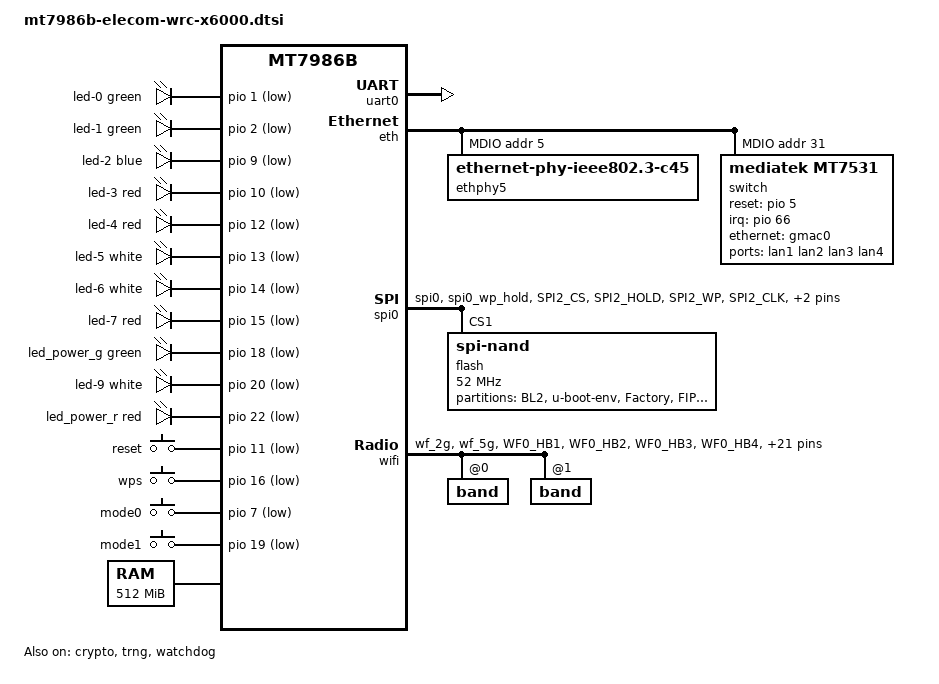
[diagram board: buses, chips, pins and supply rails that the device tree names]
// SPDX-License-Identifier: GPL-2.0-or-later OR MIT

/dts-v1/;

#include <dt-bindings/input/input.h>
#include <dt-bindings/gpio/gpio.h>
#include <dt-bindings/leds/common.h>
#include <dt-bindings/pinctrl/mt65xx.h>

#include "mt7986b.dtsi"

/ {
	aliases {
		serial0 = &uart0;

		label-mac-device = &gmac0;
		led-boot = &led_power_g;
		led-failsafe = &led_power_r;
		led-running = &led_power_g;
		led-upgrade = &led_power_g;
	};

	chosen {
		stdout-path = "serial0:115200n8";
	};

	leds {
		compatible = "gpio-leds";

		led-0 {
			color = <LED_COLOR_ID_GREEN>;
			function = LED_FUNCTION_WLAN_2GHZ;
			gpios = <&pio 1 GPIO_ACTIVE_LOW>;
		};

		led-1 {
			color = <LED_COLOR_ID_GREEN>;
			function = LED_FUNCTION_WLAN_5GHZ;
			gpios = <&pio 2 GPIO_ACTIVE_LOW>;
		};

		led-2 {
			color = <LED_COLOR_ID_BLUE>;
			function = LED_FUNCTION_POWER;
			gpios = <&pio 9 GPIO_ACTIVE_LOW>;
		};

		led-3 {
			function = LED_FUNCTION_WPS;
			color = <LED_COLOR_ID_RED>;
			gpios = <&pio 10 GPIO_ACTIVE_LOW>;
			default-state = "off";
		};

		led-4 {
			color = <LED_COLOR_ID_RED>;
			function = LED_FUNCTION_WLAN_5GHZ;
			gpios = <&pio 12 GPIO_ACTIVE_LOW>;
		};

		led-5 {
			color = <LED_COLOR_ID_WHITE>;
			function = LED_FUNCTION_WLAN_2GHZ;
			gpios = <&pio 13 GPIO_ACTIVE_LOW>;
			linux,default-trigger = "phy0tpt";
		};

		led-6 {
			color = <LED_COLOR_ID_WHITE>;
			function = LED_FUNCTION_WLAN_5GHZ;
			gpios = <&pio 14 GPIO_ACTIVE_LOW>;
			linux,default-trigger = "phy1tpt";
		};

		led-7 {
			color = <LED_COLOR_ID_RED>;
			function = LED_FUNCTION_WLAN_2GHZ;
			gpios = <&pio 15 GPIO_ACTIVE_LOW>;
		};

		led_power_g: led-8 {
			color = <LED_COLOR_ID_GREEN>;
			function = LED_FUNCTION_POWER;
			gpios = <&pio 18 GPIO_ACTIVE_LOW>;
		};

		led-9 {
			color = <LED_COLOR_ID_WHITE>;
			function = LED_FUNCTION_POWER;
			gpios = <&pio 20 GPIO_ACTIVE_LOW>;
		};

		led_power_r: led-10 {
			color = <LED_COLOR_ID_RED>;
			function = LED_FUNCTION_POWER;
			gpios = <&pio 22 GPIO_ACTIVE_LOW>;
		};
	};

	keys {
		compatible = "gpio-keys";

		button-reset {
			label = "reset";
			gpios = <&pio 11 GPIO_ACTIVE_LOW>;
			linux,code = <KEY_RESTART>;
		};

		button-wps {
			label = "wps";
			gpios = <&pio 16 GPIO_ACTIVE_LOW>;
			linux,code = <KEY_WPS_BUTTON>;
		};

		/*
		 * mode0 mode1: (Switch Position)
		 *   1     0  : Router
		 *   1     1  : AP
		 *   0     0  : Repeater (Normal)
		 *   0     1  : Repeater (Hanareya (en: Outbuilding))
		 */
		switch-mode0 {
			label = "mode0";
			gpios = <&pio 7 GPIO_ACTIVE_LOW>;
			linux,code = <BTN_0>;
			linux,input-type = <EV_SW>;
		};

		switch-mode1 {
			label = "mode1";
			gpios = <&pio 19 GPIO_ACTIVE_LOW>;
			linux,code = <BTN_1>;
			linux,input-type = <EV_SW>;
		};
	};

	memory@40000000 {
		device_type = "memory";
		reg = <0 0x40000000 0 0x20000000>;
	};
};

&crypto {
	status = "okay";
};

&trng {
	status = "okay";
};

&uart0 {
	status = "okay";
};

&watchdog {
	status = "okay";
};

&pio {
	spi_flash_pins: spi-flash-pins-33-to-38 {
		mux {
			function = "spi";
			groups = "spi0", "spi0_wp_hold";
		};

		conf-pu {
			pins = "SPI2_CS", "SPI2_HOLD", "SPI2_WP";
			drive-strength = <MTK_DRIVE_8mA>;
			bias-disable;
		};

		conf-pd {
			pins = "SPI2_CLK", "SPI2_MOSI", "SPI2_MISO";
			drive-strength = <MTK_DRIVE_8mA>;
			bias-disable;
		};
	};

	wf_2g_5g_pins: wf-2g-5g-pins {
		mux {
			function = "wifi";
			groups = "wf_2g", "wf_5g";
		};

		conf {
			pins = "WF0_HB1", "WF0_HB2", "WF0_HB3", "WF0_HB4",
				"WF0_HB0", "WF0_HB0_B", "WF0_HB5", "WF0_HB6",
				"WF0_HB7", "WF0_HB8", "WF0_HB9", "WF0_HB10",
				"WF0_TOP_CLK", "WF0_TOP_DATA", "WF1_HB1",
				"WF1_HB2", "WF1_HB3", "WF1_HB4", "WF1_HB0",
				"WF1_HB5", "WF1_HB6", "WF1_HB7", "WF1_HB8",
				"WF1_TOP_CLK", "WF1_TOP_DATA";
			drive-strength = <MTK_DRIVE_4mA>;
		};
	};
};

&eth {
	status = "okay";

	gmac0: mac@0 {
		compatible = "mediatek,eth-mac";
		reg = <0>;
		phy-mode = "2500base-x";

		nvmem-cells = <&macaddr_factory_2a>;
		nvmem-cell-names = "mac-address";

		fixed-link {
			speed = <2500>;
			full-duplex;
			pause;
		};
	};

	gmac1: mac@1 {
		compatible = "mediatek,eth-mac";
		reg = <1>;
		status = "okay";
		phy-mode = "2500base-x";
		phy-handle = <&ethphy5>;

		label = "wan";
		nvmem-cells = <&macaddr_factory_24>;
		nvmem-cell-names = "mac-address";
	};

	mdio-bus {
		#address-cells = <1>;
		#size-cells = <0>;

		reset-gpios = <&pio 6 GPIO_ACTIVE_LOW>;
		reset-delay-us = <600>;
		reset-post-delay-us = <20000>;

		ethphy5: ethernet-phy@5 {
			compatible = "ethernet-phy-ieee802.3-c45";
			reg = <5>;
			max-speed = <2500>;

			leds {
				#address-cells = <1>;
				#size-cells = <0>;

				led@0 {
					reg = <0>;
					color = <LED_COLOR_ID_WHITE>;
					function = LED_FUNCTION_WAN;
				};
			};
		};

		switch@1f {
			compatible = "mediatek,mt7531";
			reg = <31>;
			reset-gpios = <&pio 5 GPIO_ACTIVE_HIGH>;

			interrupt-controller;
			#interrupt-cells = <1>;
			interrupt-parent = <&pio>;
			interrupts = <66 IRQ_TYPE_LEVEL_HIGH>;

			ports {
				#address-cells = <1>;
				#size-cells = <0>;

				port@0 {
					reg = <0>;
					label = "lan1";
				};

				port@1 {
					reg = <1>;
					label = "lan2";
				};

				port@2 {
					reg = <2>;
					label = "lan3";
				};

				port@3 {
					reg = <3>;
					label = "lan4";
				};

				port@6 {
					reg = <6>;
					ethernet = <&gmac0>;
					phy-mode = "2500base-x";
					fixed-link {
						speed = <2500>;
						full-duplex;
						pause;
					};
				};
			};
		};
	};
};

&spi0 {
	status = "okay";

	pinctrl-names = "default";
	pinctrl-0 = <&spi_flash_pins>;
	num-cs = <2>;
	cs-gpios = <0>, <0>;

	flash@1 {
		compatible = "spi-nand";
		reg = <1>;

		spi-max-frequency = <52000000>;
		spi-tx-bus-width = <4>;
		spi-rx-bus-width = <4>;

		mediatek,nmbm;
		mediatek,bmt-max-ratio = <1>;
		mediatek,bmt-max-reserved-blocks = <64>;
		mediatek,bmt-remap-range =
		<0x0000000 0x5a0000>,  /*     BL2 - Fwheader  (5.625 MiB) */
		<0x37a0000 0x3b40000>, /*  Config - Fwheader2 (3.625 MiB) */
		<0x6d40000 0x7580000>; /* Config2 - Backup    (8.25 MiB) */

		partitions {
			compatible = "fixed-partitions";
			#address-cells = <1>;
			#size-cells = <1>;

			partition@0 {
				label = "BL2";
				reg = <0x00 0x100000>;
				read-only;
			};

			partition@100000 {
				label = "u-boot-env";
				reg = <0x100000 0x80000>;
			};

			partition@180000 {
				label = "Factory";
				reg = <0x180000 0x200000>;
				read-only;

				nvmem-layout {
					compatible = "fixed-layout";
					#address-cells = <1>;
					#size-cells = <1>;

					eeprom_factory_0: eeprom@0 {
						reg = <0x0 0x1000>;
					};

					macaddr_factory_4: mac-address@4 {
						reg = <0x4 0x6>;
					};

					macaddr_factory_a: mac-address@a {
						reg = <0xa 0x6>;
					};

					macaddr_factory_24: mac-address@24 {
						reg = <0x24 0x6>;
					};

					macaddr_factory_2a: mac-address@2a {
						reg = <0x2a 0x6>;
					};
				};
			};

			partition@380000 {
				label = "FIP";
				reg = <0x380000 0x200000>;
				read-only;
			};

			partition@580000 {
				label = "Fwheader";
				reg = <0x580000 0x20000>;
				read-only;
			};

			partition@5a0000 {
				compatible = "mstc,boot";
				label = "firmware1";
				reg = <0x5a0000 0x3200000>;
				mstc,bootnum = <1>;
				mstc,persist = <&mtd_persist>;
				#address-cells = <1>;
				#size-cells = <1>;

				partition@0 {
					label-base = "ubi";
					reg = <0x0 0x3200000>;
				};
			};

			partition@37a0000 {
				label = "Config";
				reg = <0x37a0000 0x380000>;
				read-only;
			};

			partition@3b20000 {
				label = "Fwheader_2";
				reg = <0x3b20000 0x20000>;
				read-only;
			};

			partition@3b40000 {
				compatible = "mstc,boot";
				label = "firmware2";
				reg = <0x3b40000 0x3200000>;
				mstc,bootnum = <2>;
				mstc,persist = <&mtd_persist>;
				#address-cells = <1>;
				#size-cells = <1>;

				partition@0 {
					label-base = "ubi";
					reg = <0x0 0x3200000>;
				};
			};

			partition@6d40000 {
				label = "Config_2";
				reg = <0x6d40000 0x380000>;
				read-only;
			};

			mtd_persist: partition@70c0000 {
				label = "persist";
				reg = <0x70c0000 0x100000>;
			};

			partition@71c0000 {
				label = "Mrd";
				reg = <0x71c0000 0x40000>;
				read-only;
			};

			partition@7200000 {
				label = "Backup";
				reg = <0x7200000 0x380000>;
				read-only;
			};
		};
	};
};

&wifi {
	status = "okay";

	#address-cells = <1>;
	#size-cells = <0>;

	pinctrl-names = "default";
	pinctrl-0 = <&wf_2g_5g_pins>;

	nvmem-cells = <&eeprom_factory_0>;
	nvmem-cell-names = "eeprom";

	band@0 {
		reg = <0>;
		nvmem-cells = <&macaddr_factory_4>;
		nvmem-cell-names = "mac-address";
	};

	band@1 {
		reg = <1>;
		nvmem-cells = <&macaddr_factory_a>;
		nvmem-cell-names = "mac-address";
	};
};
